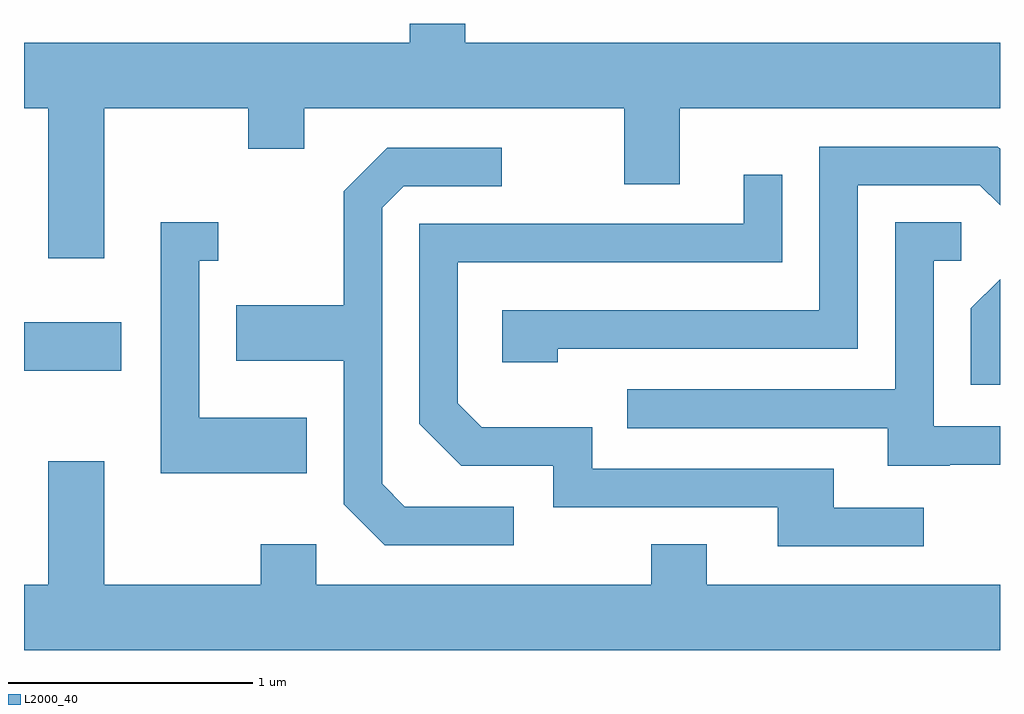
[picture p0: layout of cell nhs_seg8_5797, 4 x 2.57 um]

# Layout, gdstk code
import gdstk
lib = gdstk.Library(unit=1e-6, precision=1e-09)
def R(c, l, rs):  # rectangles x0, y0, x1, y1
    for r in rs: c.add(gdstk.rectangle(r[:2], r[2:], *l))
def P(c, l, *ps):  # polygons
    for p in ps: c.add(gdstk.Polygon(p, *l))
L2000_40 = (2000, 40)

nhs_seg8_5797 = lib.new_cell('nhs_seg8_5797')
R(nhs_seg8_5797, L2000_40, [(359.611,1810.921,360.009,1811.119)])
P(nhs_seg8_5797, L2000_40, [(359.939,1811.996),(360.531,1811.996),(360.531,1811.831),(360.759,1811.831),(360.759,1811.996),(362.071,1811.996),(362.071,1811.686),(362.299,1811.686),(362.299,1811.996),(363.611,1811.996),(363.611,1812.264),(361.419,1812.264),(361.419,1812.342),(361.191,1812.342),(361.191,1812.264),(359.611,1812.264),(359.611,1811.996),(359.711,1811.996),(359.711,1811.381),(359.939,1811.381)],
  [(361.799,1811.011),(363.029,1811.011),(363.029,1811.681),(363.529,1811.681),(363.611,1811.599),(363.611,1811.83),(363.602,1811.839),(362.871,1811.839),(362.871,1811.169),(361.571,1811.169),(361.571,1810.956),(361.799,1810.956)],
  [(361.618,1810.364),(361.172,1810.364),(361.079,1810.457),(361.079,1811.589),(361.167,1811.676),(361.568,1811.676),(361.568,1811.834),(361.099,1811.834),(360.921,1811.657),(360.921,1811.189),(360.481,1811.189),(360.481,1810.961),(360.921,1810.961),(360.921,1810.374),(361.089,1810.206),(361.618,1810.206)],
  [(363.298,1810.359),(362.929,1810.359),(362.929,1810.519),(361.939,1810.519),(361.939,1810.689),(361.487,1810.689),(361.389,1810.787),(361.389,1811.366),(362.719,1811.366),(362.719,1811.723),(362.561,1811.723),(362.561,1811.524),(361.231,1811.524),(361.231,1810.704),(361.404,1810.531),(361.781,1810.531),(361.781,1810.361),(362.701,1810.361),(362.701,1810.201),(363.298,1810.201)],
  [(363.405,1810.536),(363.611,1810.536),(363.611,1810.694),(363.339,1810.694),(363.339,1811.371),(363.453,1811.371),(363.453,1811.529),(363.181,1811.529),(363.181,1810.844),(362.083,1810.844),(362.083,1810.686),(363.151,1810.686),(363.151,1810.531),(363.405,1810.531)],
  [(360.769,1810.729),(360.329,1810.729),(360.329,1811.371),(360.408,1811.371),(360.408,1811.529),(360.171,1811.529),(360.171,1810.501),(360.769,1810.501)],
  [(363.611,1811.296),(363.491,1811.177),(363.491,1810.863),(363.611,1810.863)],
  [(359.711,1810.549),(359.711,1810.044),(359.611,1810.044),(359.611,1809.776),(363.611,1809.776),(363.611,1810.044),(362.409,1810.044),(362.409,1810.209),(362.181,1810.209),(362.181,1810.044),(360.809,1810.044),(360.809,1810.209),(360.581,1810.209),(360.581,1810.044),(359.939,1810.044),(359.939,1810.549)])

lib.write_gds('nhs_seg8_5797.gds')
